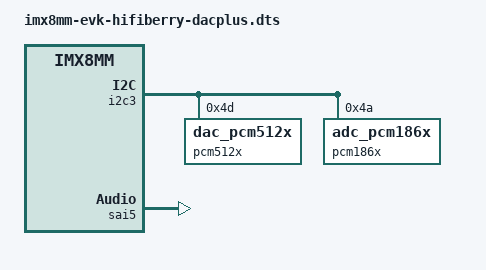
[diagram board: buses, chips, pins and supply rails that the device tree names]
#include "imx8mm-evk.dts"

&i2c3 {
    status = "ok";
    baud-rate = <400000>;

    pcm512x: pcm512x@4d {
        compatible = "dac_pcm512x";

        reg = < 0x4d >;
        reg-names = "core";
        bus-id-i2c = < 3 >;
        bus-id = < 51 >;
        gpio-led = < 4 >;
        gpio-osc44 = < 6 >;
        gpio-osc48 = < 3 >;

        status = "ok";
    };

    pcm186x: pcm186x@4a {
        compatible = "adc_pcm186x";

        reg = < 0x4a >;
        reg-names = "core";
        bus-id-i2c = < 3 >;
        bus-id = < 18 >;
        gpio-led = < 2 >;

        status = "ok";
    };
};

&sai5 {
    status = "okay";

    pinctrl-0 = <
        IOMUXC_SAI5_RXD0_SAI5_RX_DATA0  0   0x8A
        IOMUXC_SAI5_RXD1_SAI5_TX_SYNC   0   0x8A
        IOMUXC_SAI5_RXD2_SAI5_TX_BCLK   0   0x8A
        IOMUXC_SAI5_RXD3_SAI5_TX_DATA0  0   0x8A
    >;

    /* RX synchronised to TX */
    rx,sync-mode = < 1 >;

    /* Hifiberry card is master */
    rx,slave_mode;
    tx,slave_mode;
};
